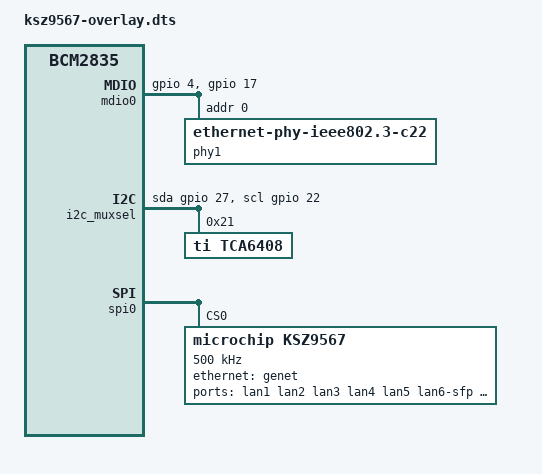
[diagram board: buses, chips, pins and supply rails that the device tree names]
/*
 * Universal device tree overlay for SPI devices
 */

/dts-v1/;
/plugin/;

#include <dt-bindings/gpio/gpio.h>
/ {
	compatible = "brcm,bcm2835";


    fragment@0 {
	target = <&genet>;
	my_eth: myeth@0 {
		max-speed = <1000>;
	};
    };

    fragment@1 { // ksz9567 phy
        target = <&spi0>;
        __overlay__ {
            status = "okay";

            ksz9567@0 {
                compatible = "microchip,ksz9567";
                reg = <0>;                         // CS0
                spi-max-frequency = <500000>;       // 500kHz, safe for startup
                status = "okay";

			ports {
				#address-cells = <1>;
				#size-cells = <0>;
				port@0 {
					reg = <0>;
					label = "lan1";
					phy-mode = "internal";
				};
				port@1 {
					reg = <1>;
					label = "lan2";
					phy-mode = "internal";
				};
				port@2 {
					reg = <2>;
					label = "lan3";
					phy-mode = "internal";
				};
				port@3 {
					reg = <3>;
					label = "lan4";
					phy-mode = "internal";
				};
				port@4 {
					reg = <4>;
					label = "lan5";
					phy-mode = "internal";
				};
				port@5 {
					reg = <6>;
					label = "lan6-sfp";
					phy-mode = "rgmii";
					fixed-link {
						speed = <1000>;
						full-duplex;
						pause;
					};
				};
				port@6 {
					reg = <5>;
					label = "cpu";
					//phy-mode = "rgmii-id";
					phy-mode = "rgmii-txid";
					rx-internal-delay-ps = <2000>;
					tx-internal-delay-ps = <2000>;
					ethernet = <&genet>;
					//phy-handle = <&phy1>;
					//mdio = <&mdio0>;
					fixed-link {
						speed = <1000>;
						full-duplex;
						pause;
					};
				};
			};
		};
	    };
	};
	fragment@2 { // ksz9031 rgmii phy between ksz9567 and CM4
		target-path = "/";
		__overlay__ {
			mdio0: mdio {
				compatible = "virtual,mdio-gpio";
				// MDC = cm4 pin 54 gpio4 , MDIO = cm4 pin 50 gpio 17
				gpios = <&gpio 4 0>, <&gpio 17 0>;
				#address-cells = <1>;
				#size-cells = <0>;
				status = "okay";
				phy1: ethernet-phy@3 {
					compatible = "ethernet-phy-ieee802.3-c22";
					reg = <0>;
					//reset-gpios = <&gpio 24 GPIO_ACTIVE_LOW>; // brd_rst_n cm4 pin 45 gpio 24	
				};
			};
		};
	};


	   fragment@3 {
			target-path = "/";
			__overlay__ {
				    i2c_muxsel: i2c@9 {
					reg = <9>;
					compatible = "i2c-gpio";
					gpios = <&gpio 27 (GPIO_ACTIVE_HIGH|GPIO_OPEN_DRAIN) /* SDA */
						 &gpio 22 (GPIO_ACTIVE_HIGH|GPIO_OPEN_DRAIN) /* SCL */>;
					i2c-gpio,delay-us = <2>;        /* ~100 kHz */
					#address-cells = <1>;
					#size-cells = <0>;

						tca6408: gpio@21 {
							compatible = "ti,tca6408";
							reg = <0x21>;
							gpio-controller;
							#gpio-cells = <2>;
							status = "okay";
							gpio-line-names = "SMA4_MUX_SAI", "SMA4_MUX_SBI",
								"SMA2_MUX_SAI", "SMA2_MUX_SBI",
								"SMA1_MUX_SAO", "SMA1_MUX_SBO",
								"SMA1_MUX_SAI", "SMA1_MUX_SBI";
						};
				    };
				};
		};

};
